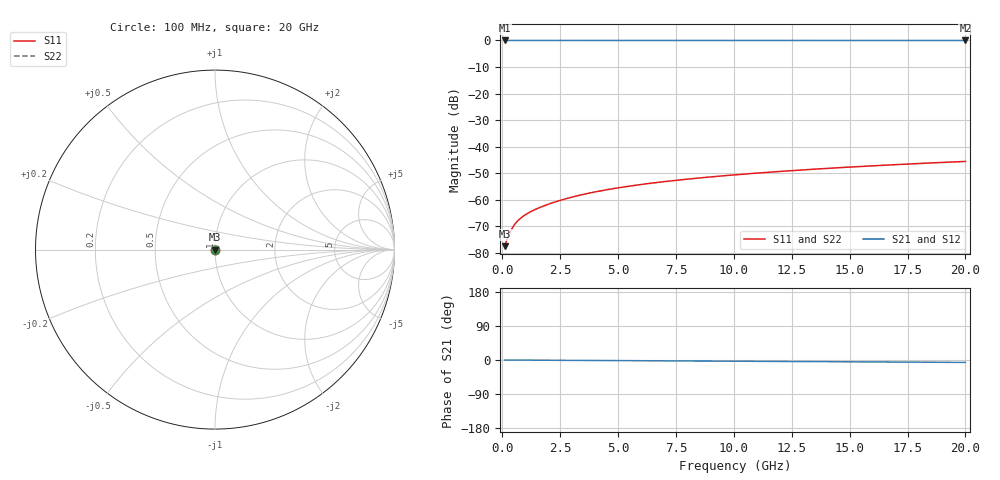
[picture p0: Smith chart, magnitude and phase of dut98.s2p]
! Touchstone file exported from HFSS 2026.1.0
!  File:  C:/ffzhzh/LocalFiles/Ansys_Project_Files/temp_train_TSV_98_1782959813_15332.aedt
!  Generated:  10:38:18 AM Jul  2, 2026
!  Design:  TSV
!  Project:  temp_train_TSV_98_1782959813_15332
! Variables:
!  h_bsmrdl = 2um
!  h_ox = 20um
!  h_rdl = 5um
!  h_sub = 61.79um
!  h_tmrdl = 5um
!  h_tsv = 61.79um
!  h_via = 3um
!  l_bsmrdl = 300um
!  l_sub = 418.56um
!  l_tmrdl = 200um
!  m_sub = 200um
!  pitch = 39.17um
!  r_tsv = 9.28um
!  s_tmrdl = 10um
!  w_bsmrdl = 18um
!  w_sub = 500um
!  w_tmrdl = 12um
!  x_tsv_center1 = 206um
!  x_tsv_center2 = 524um
!  x_tsv_center3 = 736um
!  x_tsv_center4 = 1054um
!  x_tsv_center5 = 1266um
!  x_tsv_center6 = 1584um
# GHz S MA R 50.000000
! Terminal data exported
! Port[1] = TSV1_1_T1
! Port[2] = TSV1_1_T2
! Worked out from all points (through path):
!   200 points, 100 MHz to 20 GHz, reference 50 ohm
!   highest |S21| = 0.00 dB at 100 MHz (marker M1); lowest = 0.0 dB at 20 GHz (marker M2)
!   lowest |S11| = -77.5 dB at 100 MHz (marker M3), VSWR 1.00, Z = 50 + j0.0062 ohm
!   |S11| at or under -10 dB: start of sweep to end of sweep
!   |S22| runs from -77.5 to -45.6 dB; largest |S21 - S12| = 3.2e-15
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0.1  0.0001339 27.6  0.9999 -0.0  0.9999 -0.0  0.0001339 27.6
! Gamma 0 0 0 0
! Port Impedance 50 0 50 0
0.2  0.0001773 43.3  0.9999 -0.1  0.9999 -0.1  0.0001773 43.3
0.3  0.0002283 50.8  0.9999 -0.1  0.9999 -0.1  0.0002283 50.8
0.4  0.0002795 54.3  0.9998 -0.1  0.9998 -0.1  0.0002795 54.3
0.5  0.0003279 56.1  0.9998 -0.2  0.9998 -0.2  0.0003279 56.1
0.6  0.0003729 57.1  0.9998 -0.2  0.9998 -0.2  0.0003729 57.1
0.7  0.0004145 57.7  0.9998 -0.2  0.9998 -0.2  0.0004145 57.7
0.8  0.0004531 58.2  0.9998 -0.3  0.9998 -0.3  0.0004531 58.2
1  0.0005239 59.0  0.9997 -0.3  0.9997 -0.3  0.0005239 59.0
1.4  0.0006506 60.9  0.9997 -0.5  0.9997 -0.5  0.0006506 60.9
2  0.0008291 63.6  0.9996 -0.6  0.9996 -0.6  0.0008291 63.6
2.7  0.001034 65.8  0.9996 -0.9  0.9996 -0.9  0.001034 65.8
3.5  0.001264 67.5  0.9995 -1.1  0.9995 -1.1  0.001264 67.5
4.2  0.00146 68.5  0.9995 -1.3  0.9995 -1.3  0.00146 68.4
5  0.001678 69.2  0.9994 -1.6  0.9994 -1.6  0.001679 69.2
5.9  0.001917 69.8  0.9994 -1.9  0.9994 -1.9  0.001917 69.8
6.8  0.002148 70.2  0.9993 -2.2  0.9993 -2.2  0.002148 70.2
8.3  0.002524 70.8  0.9993 -2.6  0.9993 -2.6  0.002525 70.8
10.1  0.002965 71.3  0.9992 -3.2  0.9992 -3.2  0.002965 71.3
13.4  0.003755 71.7  0.9991 -4.3  0.9991 -4.3  0.003755 71.7
16.7  0.004525 71.7  0.999 -5.3  0.999 -5.3  0.004526 71.7
20  0.005274 71.4  0.9989 -6.3  0.9989 -6.3  0.005274 71.4
